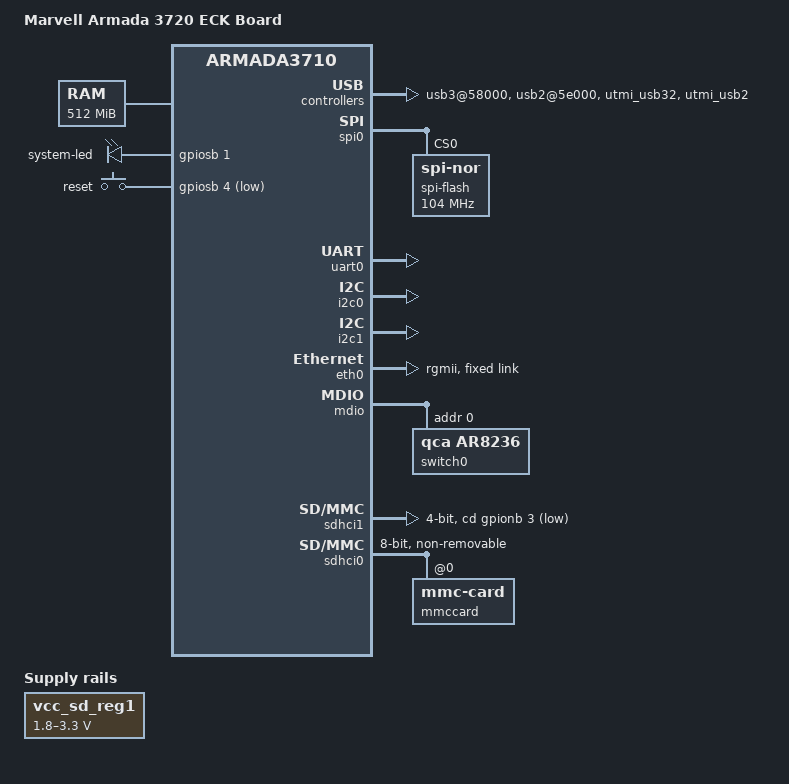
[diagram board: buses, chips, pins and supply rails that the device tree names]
/*
 * Device Tree file for Marvell Armada 3720 community board
 * Copyright (C) 2016 Marvell
 *
 * This file is dual-licensed: you can use it either under the terms
 * of the GPL or the X11 license, at your option. Note that this dual
 * licensing only applies to this file, and not this project as a
 * whole.
 *
 *  a) This file is free software; you can redistribute it and/or
 *     modify it under the terms of the GNU General Public License as
 *     published by the Free Software Foundation; either version 2 of the
 *     License, or (at your option) any later version.
 *
 *     This file is distributed in the hope that it will be useful
 *     but WITHOUT ANY WARRANTY; without even the implied warranty of
 *     MERCHANTABILITY or FITNESS FOR A PARTICULAR PURPOSE.  See the
 *     GNU General Public License for more details.
 *
 * Or, alternatively
 *
 *  b) Permission is hereby granted, free of charge, to any person
 *     obtaining a copy of this software and associated documentation
 *     files (the "Software"), to deal in the Software without
 *     restriction, including without limitation the rights to use
 *     copy, modify, merge, publish, distribute, sublicense, and/or
 *     sell copies of the Software, and to permit persons to whom the
 *     Software is furnished to do so, subject to the following
 *     conditions:
 *
 *     The above copyright notice and this permission notice shall be
 *     included in all copies or substantial portions of the Software.
 *
 *     THE SOFTWARE IS PROVIDED , WITHOUT WARRANTY OF ANY KIND
 *     EXPRESS OR IMPLIED, INCLUDING BUT NOT LIMITED TO THE WARRANTIES
 *     OF MERCHANTABILITY, FITNESS FOR A PARTICULAR PURPOSE AND
 *     NONINFRINGEMENT. IN NO EVENT SHALL THE AUTHORS OR COPYRIGHT
 *     HOLDERS BE LIABLE FOR ANY CLAIM, DAMAGES OR OTHER LIABILITY
 *     WHETHER IN AN ACTION OF CONTRACT, TORT OR OTHERWISE, ARISING
 *     FROM, OUT OF OR IN CONNECTION WITH THE SOFTWARE OR THE USE OR
 *     OTHER DEALINGS IN THE SOFTWARE.
 */

/dts-v1/;

#include <dt-bindings/gpio/gpio.h>
#include <dt-bindings/input/input.h>
#include "armada-372x.dtsi"

/ {
	model = "Marvell Armada 3720 ECK Board";
	compatible = "tplink,oc200", "marvell,armada-3720-oc200", "marvell,armada-3720-eck", "marvell,armada3720", "marvell,armada3710";

	chosen {
		bootargs = "console=ttyMV0,115200";
		stdout-path = "serial0:115200n8";
	};

	memory {
		device_type = "memory";
		reg = <0x00000000 0x00000000 0x00000000 0x20000000>;
	};

	soc {
		internal-regs {
			reg_avs: avs@11500 {
				status = "okay";
			};

			spinctrl: south-bridge-pinctrl@18830 {
				system_led_pins: system-led-pins {
					marvell,pins = "mpp1";
					marvell,function = "gpio";
				};

				system_reset_pins: system-reset-pins {
					marvell,pins = "mpp4";
					marvell,function = "gpio";
				};
			};

			u3d@50000 {
				status = "disabled";
				//phys = <&a3700_comphy 0 COMPHY_USB3>;
				phy-names = "usb";
			};

			udc@54100 {
				status = "disabled";
				//phys = <&utmi_usb32>;
				phy-names = "usb";
			};

			usb3@58000 {
				status = "okay";
			};

			usb2@5e000 {
				status = "okay";
			};

			utmi_usb32: utmi@5d000 {
				status = "okay";
			};

			utmi_usb2: utmi@5f000 {
				status = "okay";
			};

			vcc_sd_reg1: regulator@0 {
				compatible = "regulator-gpio";
				regulator-name = "vcc_sd1";
				regulator-min-microvolt = <1800000>;
				regulator-max-microvolt = <3300000>;
				regulator-boot-on;

				gpios = <&gpionb 4 GPIO_ACTIVE_HIGH>;
				gpios-states = <0>;
				states = <1800000 0x1
					  3300000 0x0>;

				enable-active-high;
			};


			bm: bm@c0000 {
				compatible = "marvell,armada-380-neta-bm";
				reg = <0xc0000 0xac>;
				clocks = <&sb_periph_clk 9>;
				internal-mem = <&bm_bppi>;
				status = "okay";
			};

			bm_bppi: bm-bppi {
				compatible = "mmio-sram";
				reg = <0xc8000 0x1000>;
				clocks = <&sb_periph_clk 9>;
				no-memory-wc;
				status = "okay";
			};

			eip97: eip97@90000 {
				status = "okay";
			};
		};
	};

/* Upstream has no DSA support for ar8236 */
/*
	dsa@0 {
		compatible = "marvell,dsa";
		dsa,ethernet = <&eth0>;
		dsa,mii-bus = <&mdio>;
		#address-cells = <2>;
		#size-cells = <0>;

		switch@0 {
				#address-cells = <1>;
				#size-cells = <0>;
				reg = <0 0>;

				port@0 {
						reg = <0>;
						label = "cpu";
						fixed-link {
							speed = <100>;
							full-duplex;
						};
				};

				port@1 {
						reg = <1>;
						label = "lan0";
						phy-handle = <&phy1>;
				};

				port@2 {
						reg = <2>;
						label = "lan1";
						phy-handle = <&phy2>;
				};
		};
	};
*/

	gpio-leds {
		compatible = "gpio-leds";
		pinctrl-0 = <&system_led_pins>;
		pinctrl-names = "default";

		system-led {
			label = "system-led";
			gpios = <&gpiosb 1 GPIO_ACTIVE_HIGH>;
			default-state = "off";
		};
	};

	gpio-keys {
		compatible = "gpio-keys";
		pinctrl-0 = <&system_reset_pins>;
		pinctrl-names = "default";

		reset-button {
			label = "reset";
			linux,code = <KEY_RESTART>;
			gpios = <&gpiosb 4 GPIO_ACTIVE_LOW>;
		};
	};
};

&spi0 {
	status = "okay";

	spi-flash@0 {
		#address-cells = <1>;
		#size-cells = <1>;
		compatible = "jedec,spi-nor";
		reg = <0>; /* Chip select 0 */
		spi-max-frequency = <104000000>;
		m25p,fast-read;

		pinctrl-names = "default";
		pinctrl-0 = <&spi_cs1_pins &spi_quad_pins>;
	};
};

&uart0 {
	status = "okay";
};

&i2c0 {
	status = "okay";
};

&i2c1 {
	status = "okay";
};

&eth0 {
	phy-mode = "rgmii";
	status = "okay";
	buffer-manager = <&bm>;
	bm,pool-long = <1>;
	bm,pool-short = <3>;

	fixed-link {
		speed = <100>;
		full-duplex;
		//pause;
	};

};

&mdio {
	switch0: switch@0 {
		compatible = "qca,ar8236";
		#address-cells = <1>;
		#size-cells = <0>;
		reg = <0 0>;
	};
};

&sdhci1 {
	wp-inverted;
	bus-width = <4>;
	cd-gpios = <&gpionb 3 GPIO_ACTIVE_LOW>;
	no-1-8-v;
	vqmmc-supply = <&vcc_sd_reg1>;
	marvell,pad-type = "sd";
	status = "okay";

	pinctrl-names = "default";
	pinctrl-0 = <&sdio_pins>;
};

&sdhci0 {
	marvell,pad-type = "fixed-1-8v";
	non-removable;
	bus-width = <8>;
	cap-mmc-highspeed;
	max-frequency = <52000000>;
	marvell,xenon-emmc;
	marvell,xenon-broken-hs200;
	marvell,xenon-tun-count = <9>;
	status = "okay";

	pinctrl-names = "default";
	pinctrl-0 = <&mmc_pins>;
	#address-cells = <1>;
	#size-cells = <0>;
	mmccard: mmccard@0 {
		compatible = "mmc-card";
		reg = <0>;
	};
};
